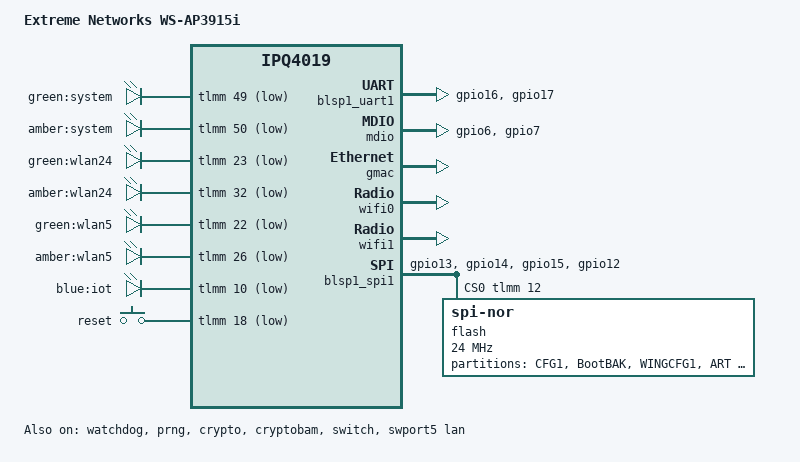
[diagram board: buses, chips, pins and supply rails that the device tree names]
// SPDX-License-Identifier: GPL-2.0-only OR MIT

#include "qcom-ipq4019.dtsi"
#include <dt-bindings/gpio/gpio.h>
#include <dt-bindings/input/input.h>
#include <dt-bindings/soc/qcom,tcsr.h>

/ {
	model = "Extreme Networks WS-AP3915i";
	compatible = "extreme-networks,ws-ap3915i";

	aliases {
		// TODO: Verify if the ethernet0 alias is needed
		ethernet0 = &gmac;
		led-boot = &led_system_green;
		led-failsafe = &led_system_amber;
		led-running = &led_system_green;
		led-upgrade = &led_system_amber;
	};

	soc {
		tcsr@1949000 {
			compatible = "qcom,tcsr";
			reg = <0x1949000 0x100>;
			qcom,wifi_glb_cfg = <TCSR_WIFI_GLB_CFG>;
		};

		ess_tcsr@1953000 {
			compatible = "qcom,tcsr";
			reg = <0x1953000 0x1000>;
			qcom,ess-interface-select = <TCSR_ESS_PSGMII>;
		};

		tcsr@1957000 {
			compatible = "qcom,tcsr";
			reg = <0x1957000 0x100>;
			qcom,wifi_noc_memtype_m0_m2 = <TCSR_WIFI_NOC_MEMTYPE_M0_M2>;
		};
	};

	leds {
		compatible = "gpio-leds";

		led_system_green: system_green {
			label = "green:system";
			gpios = <&tlmm 49 GPIO_ACTIVE_LOW>;
		};

		led_system_amber: system_amber {
			label = "amber:system";
			gpios = <&tlmm 50 GPIO_ACTIVE_LOW>;
		};

		led_wlan24_green: wlan24_green {
			label = "green:wlan24";
			gpios = <&tlmm 23 GPIO_ACTIVE_LOW>;
			linux,default-trigger = "phy0tpt";
		};

		led_wlan24_amber: wlan24_amber {
			label = "amber:wlan24";
			gpios = <&tlmm 32 GPIO_ACTIVE_LOW>;
		};

		led_wlan5_green: wlan5_green {
			label = "green:wlan5";
			gpios = <&tlmm 22 GPIO_ACTIVE_LOW>;
			linux,default-trigger = "phy1tpt";
		};

		led_wlan5_amber: wlan5_amber {
			label = "amber:wlan5";
			gpios = <&tlmm 26 GPIO_ACTIVE_LOW>;
		};

		iot {
			label = "blue:iot";
			gpios = <&tlmm 10 GPIO_ACTIVE_LOW>;
		};
	};

	keys {
		compatible = "gpio-keys";

		reset {
			label = "reset";
			gpios = <&tlmm 18 GPIO_ACTIVE_LOW>;
			linux,code = <KEY_RESTART >;
		};
	};
};

&watchdog {
	status = "okay";
};

&prng {
	status = "okay";
};

&crypto {
	status = "okay";
};

&blsp_dma {
	status = "okay";
};

&blsp1_uart1 {
	pinctrl-0 = <&serial_pins>;
	pinctrl-names = "default";
	status = "okay";
};

&cryptobam {
	status = "okay";
};

&mdio {
	status = "okay";
	pinctrl-0 = <&mdio_pins>;
	pinctrl-names = "default";
};

&gmac {
	status = "okay";
};

&switch {
	status = "okay";
};

&swport5 {
	status = "okay";

	label = "lan";
};

&tlmm {
	mdio_pins: mdio_pinmux {
		mux_1 {
			pins = "gpio6";
			function = "mdio";
			bias-pull-up;
		};
		mux_2 {
			pins = "gpio7";
			function = "mdc";
			bias-pull-up;
		};
	};

	spi_0_pins: spi_0_pinmux {
		pin {
			function = "blsp_spi0";
			pins = "gpio13", "gpio14", "gpio15";
			drive-strength = <12>;
			bias-disable;
		};
		pin_cs {
			function = "gpio";
			pins = "gpio12";
			drive-strength = <2>;
			bias-disable;
			output-high;
		};
	};

	serial_pins: serial_0_pinmux {
		mux {
			pins = "gpio16", "gpio17";
			function = "blsp_uart0";
			bias-disable;
		};
	};
};

&wifi0 {
	status = "okay";
	qcom,ath10k-calibration-variant = "Extreme-Networks-WS-AP3915i";
};

&wifi1 {
	status = "okay";
	qcom,ath10k-calibration-variant = "Extreme-Networks-WS-AP3915i";
};

&blsp1_spi1 {
	pinctrl-0 = <&spi_0_pins>;
	pinctrl-names = "default";
	status = "okay";
	cs-gpios = <&tlmm 12 GPIO_ACTIVE_HIGH>;

	flash@0 {
		compatible = "jedec,spi-nor";
		reg = <0>;
		spi-max-frequency = <24000000>;

		partitions {
			compatible = "fixed-partitions";
			#address-cells = <1>;
			#size-cells = <1>;

			/* Layout for 0x0 - 0xe0000 unknown */

			partition@e0000 {
				label = "CFG1";
				reg = <0xe0000 0x10000>;
				read-only;
			};

			partition@f0000 {
				label = "BootBAK";
				reg = <0xf0000 0x70000>;
				read-only;
			};

			partition@160000 {
				label = "WINGCFG1";
				reg = <0x160000 0x10000>;
				read-only;
			};

			partition@170000 {
				label = "ART";
				reg = <0x170000 0x10000>;
				read-only;
			};

			partition@180000 {
				label = "BootPRI";
				reg = <0x180000 0x70000>;
				read-only;
			};

			partition@1f0000 {
				label = "WINGCFG2";
				reg = <0x1f0000 0x10000>;
				read-only;
			};

			partition@200000 {
				label = "FS";
				reg = <0x200000 0x80000>;
				read-only;
			};

			partition@280000 {
				label = "firmware";
				reg = <0x280000 0x1d60000>;
			};

			partition@1fe0000 {
				label = "CFG2";
				reg = <0x1fe0000 0x10000>;
				read-only;
			};
		};
	};
};
